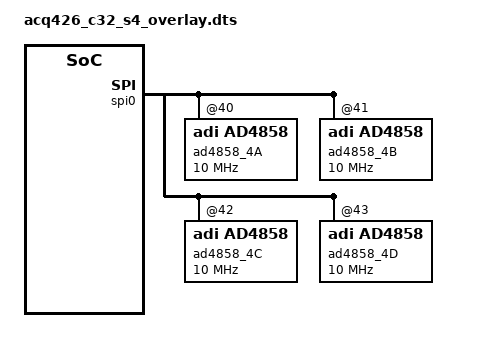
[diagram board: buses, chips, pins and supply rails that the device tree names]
// SPDX-License-Identifier: GPL-2.0
/dts-v1/;
/plugin/;	/* allow undefined label references and record them */

/ {
	fragment@0 {
		target = <&spi0>;
		__overlay__ {
			#address-cells = <1>;
			#size-cells = <0>;			
			status = "okay";

			ad4858_4A: adc@40{		
/*                
                refin-supply = <&refin>;
                clocks = <&ref_clk>;
                clock-names = "scki";
                dmas = <&rx_dma 0>;
                dma-names = "rx";
                pwms = <&axi_pwm_gen 0 0>;
                pwm-names = "cnv";
*/
				reg = <0x40>;
				spi-max-frequency = <10000000>;
				compatible = "adi,ad4858";
			};
			ad4858_4B: adc@41{
				reg = <0x41>;

				spi-max-frequency = <10000000>;
				compatible = "adi,ad4858";
			};
			ad4858_4C: adc@42{
				reg = <0x42>;

				spi-max-frequency = <10000000>;
				compatible = "adi,ad4858";
			};
			ad4858_4D: adc@43{
				reg = <0x43>;

				spi-max-frequency = <10000000>;
				compatible = "adi,ad4858";
			};			
			ad4858_4X: adc@4f{
				reg = <0x4F>;

				spi-max-frequency = <10000000>;
				compatible = "adi,ad4858";
				status = "disabled";
			};
		};
	};
};
